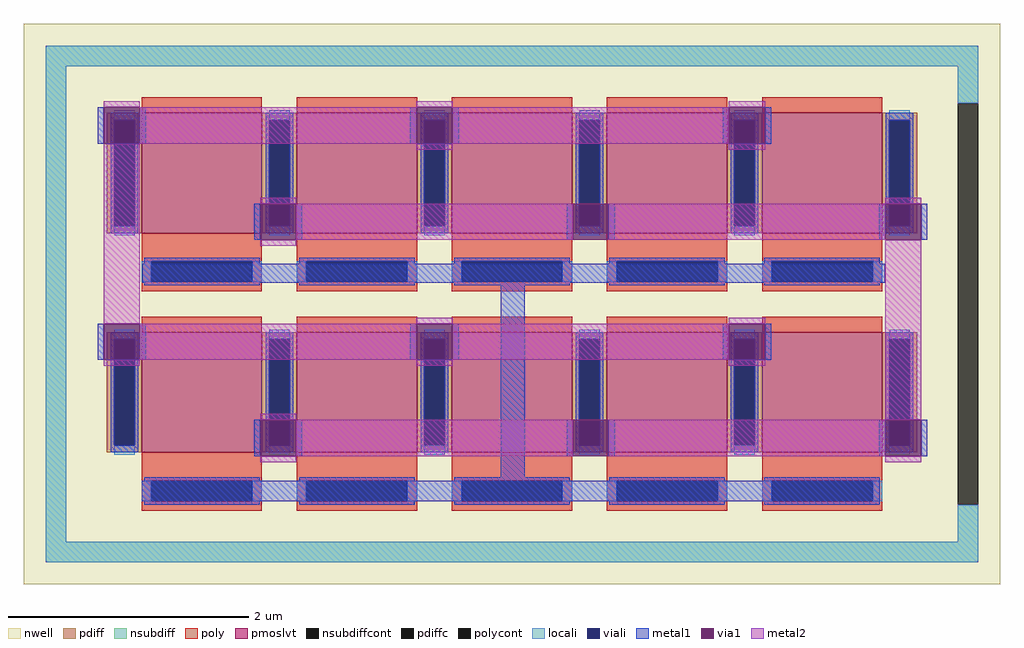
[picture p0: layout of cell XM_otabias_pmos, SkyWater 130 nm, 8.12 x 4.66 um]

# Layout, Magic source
magic
tech sky130A
magscale 1 2
<< metal1 >>
rect 70 680 80 740
rect 140 680 150 740
rect 590 680 600 740
rect 660 680 670 740
rect 1110 680 1120 740
rect 1180 680 1190 740
rect 330 520 340 580
rect 400 520 410 580
rect 850 520 860 580
rect 920 520 930 580
rect 1370 520 1380 580
rect 1440 520 1450 580
rect 144 448 1380 480
rect 70 320 80 380
rect 140 320 150 380
rect 590 320 600 380
rect 660 320 670 380
rect 330 160 340 220
rect 400 160 410 220
rect 740 119 780 448
rect 1110 320 1120 380
rect 1180 320 1190 380
rect 850 160 860 220
rect 920 160 930 220
rect 1370 160 1380 220
rect 1440 160 1450 220
rect 143 85 1367 119
rect 740 80 780 85
<< via1 >>
rect 80 680 140 740
rect 600 680 660 740
rect 1120 680 1180 740
rect 340 520 400 580
rect 860 520 920 580
rect 1380 520 1440 580
rect 80 320 140 380
rect 600 320 660 380
rect 340 160 400 220
rect 1120 320 1180 380
rect 860 160 920 220
rect 1380 160 1440 220
<< metal2 >>
rect 80 740 140 750
rect 600 740 660 750
rect 1120 740 1180 750
rect 140 680 600 740
rect 660 680 1120 740
rect 80 380 140 680
rect 600 670 660 680
rect 1120 670 1180 680
rect 340 580 400 590
rect 1380 580 1440 590
rect 400 520 860 580
rect 920 520 1380 580
rect 340 510 400 520
rect 600 380 660 390
rect 1120 380 1180 390
rect 140 320 600 380
rect 660 320 1120 380
rect 80 310 140 320
rect 600 310 660 320
rect 1120 310 1180 320
rect 340 220 400 230
rect 1380 220 1440 520
rect 400 160 860 220
rect 920 160 1380 220
rect 340 150 400 160
rect 1380 150 1440 160
use sky130_fd_pr__pfet_01v8_lvt_MUAP4U  sky130_fd_pr__pfet_01v8_lvt_MUAP4U_0
transform 1 0 759 0 1 413
box -812 -466 812 466
<< end >>

# cell sky130_fd_pr__pfet_01v8_lvt_MUAP4U: kit device sky130_fd_pr__pfet_01v8_lvt, w 1 l 1 m 2 nf 5 diffcov 100 polycov 100 guard 1 glc 0 grc 1 gtc 0 gbc 0 tbcov 100 rlcov 100 topc 0 botc 1 poverlap 0 doverlap 1 lmin 0.35 wmin 0.42 compatible {sky130_fd_pr__pfet_01v8 sky130_fd_pr__pfet_01v8_lvt sky130_fd_pr__pfet_01v8_hvt sky130_fd_pr__pfet_g5v0d10v5} full_metal 1 viasrc 100 viadrn 100 viagate 100 viagb 0 viagr 0 viagl 0 viagt 0
